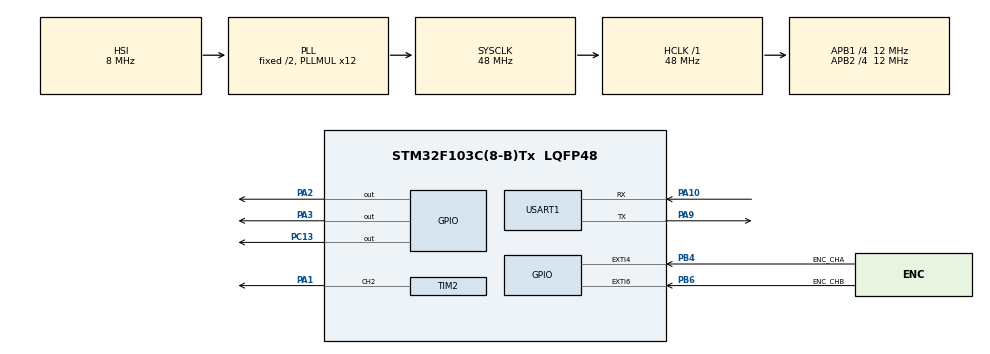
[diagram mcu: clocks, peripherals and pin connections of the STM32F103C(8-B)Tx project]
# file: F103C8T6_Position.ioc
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Mcu.Family=STM32F1
Mcu.Name=STM32F103C(8-B)Tx
Mcu.Package=LQFP48
NVIC.EXTI4_IRQn=true\:0\:0\:false\:false\:true\:true\:true\:true
NVIC.EXTI9_5_IRQn=true\:0\:0\:false\:false\:true\:true\:true\:true
NVIC.PriorityGroup=NVIC_PRIORITYGROUP_4
NVIC.TIM3_IRQn=true\:0\:0\:false\:false\:true\:true\:true\:true
NVIC.TIM4_IRQn=true\:0\:0\:false\:false\:true\:true\:true\:true
NVIC.USART1_IRQn=true\:0\:0\:false\:false\:true\:true\:true\:true
PA1.Signal=S_TIM2_CH2
PA10.Mode=Asynchronous
PA10.Signal=USART1_RX
PA13.Mode=Serial_Wire
PA13.Signal=SYS_JTMS-SWDIO
PA14.Mode=Serial_Wire
PA14.Signal=SYS_JTCK-SWCLK
PA2.Signal=GPIO_Output
PA3.Signal=GPIO_Output
PA9.Mode=Asynchronous
PA9.Signal=USART1_TX
PB4.GPIO_Label=ENC_CHA
PB4.GPIO_ModeDefaultEXTI=GPIO_MODE_IT_RISING_FALLING
PB4.GPIO_PuPd=GPIO_PULLUP
PB4.Signal=GPXTI4
PB6.GPIO_Label=ENC_CHB
PB6.GPIO_ModeDefaultEXTI=GPIO_MODE_IT_RISING_FALLING
PB6.GPIO_PuPd=GPIO_PULLUP
PB6.Signal=GPXTI6
PC13-TAMPER-RTC.Signal=GPIO_Output
ProjectManager.HeapSize=0x200
ProjectManager.StackSize=0x400
ProjectManager.TargetToolchain=MDK-ARM V5.32
RCC.AHBFreq_Value=48000000
RCC.APB1CLKDivider=RCC_HCLK_DIV4
RCC.APB1Freq_Value=12000000
RCC.APB1TimFreq_Value=24000000
RCC.APB2CLKDivider=RCC_HCLK_DIV4
RCC.APB2Freq_Value=12000000
RCC.APB2TimFreq_Value=24000000
RCC.HCLKFreq_Value=48000000
RCC.PLLMUL=RCC_PLL_MUL12
RCC.SYSCLKFreq_VALUE=48000000
RCC.SYSCLKSource=RCC_SYSCLKSOURCE_PLLCLK
RCC.USBFreq_Value=48000000
SH.S_TIM2_CH2.0=TIM2_CH2,PWM Generation2 CH2
TIM2.Channel-PWM\ Generation2\ CH2=TIM_CHANNEL_2
TIM2.Period=100
TIM2.Prescaler=11
TIM3.Period=4
TIM3.Prescaler=23999
TIM4.Period=9
TIM4.Prescaler=23999
USART1.VirtualMode=VM_ASYNC
VP_TIM3_VS_ClockSourceINT.Mode=Internal
VP_TIM4_VS_ClockSourceINT.Mode=Internal
board=custom

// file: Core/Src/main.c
/* USER CODE BEGIN Header */
/**
  ******************************************************************************
  * @file           : main.c
  * @brief          : Main program body
  ******************************************************************************
  * @attention
  *
  * Copyright (c) 2023 STMicroelectronics.
  * All rights reserved.
  *
  * This software is licensed under terms that can be found in the LICENSE file
  * in the root directory of this software component.
  * If no LICENSE file comes with this software, it is provided AS-IS.
  *
  ******************************************************************************
  */
/* USER CODE END Header */
#include "main.h"

/* USER CODE BEGIN Includes */
#include "string.h"
#include "stdio.h"
#include "stdlib.h"
#include "stdbool.h"
/* USER CODE END Includes */

/* USER CODE BEGIN PD */
#define UPDATE_PERIOD			0.005		/* Chu ki cap nhat: 5ms = ngat timer 4 */
#define PULSES_IN_ROUND		11			/* So xung tren 1 vong cua dong co */
/* USER CODE END PD */

TIM_HandleTypeDef htim2;
TIM_HandleTypeDef htim3;
TIM_HandleTypeDef htim4;

UART_HandleTypeDef huart1;

/* USER CODE BEGIN PV */
/* Thong so ham PIController : tuy vao loai dong co ma tinh lai cac thong so Kp, Ki, Kb */
//float 		Kp 							= 0.087039474;			/* Ti le */
//float 		Ki 							= 2.192982456;			/* Tich phan */
//float 		Kd 							= 0.0;							/* Vi phan */
//float			Kb 							= 25.19526329;			/* Dung cho Anti-windup */

//int32_t 	UHiLim 					= 100;								/* Gioi han tren pwm */
//int32_t 	ULoLim 					= 0;									/* Gioi han duoi pwm */

/* Thong so dieu khien vi tri 3 cap do : tuy vao loai dong co ma tinh lai cac thong so Kp1 Kp2 Kv2 Kp4 Kvg */
	// For Low Speed
float Kp1 = 28.95;		// Kp2 = wn * cp2 = 120.637 * 0.24
	// For Middle Speed
float Kp2 = 28.95;		// Kp2 = wn * cp2 = 120.637 * 0.24
float Kv2 = 115.81;		// Kv2 = wn * cv2 = 120.637 * 0.96
	// For High Speed
float Kp4 = 28.95;		// Kp4 = wn * cp = 120.637 * 0.24
float Kvg = 0.76;		// Kvg = cv * wn * Jt

///* Thong so ham PDController : tuy vao loai dong co ma tinh lai cac thong so Kp, Kd, alpha */
float 		Kp 							= 0.317763158;			/* Ti le */
float 		Ki 							= 0.0;						/* Tich phan */
float 		Kd 							= 0.009208776;							/* Vi phan */
float			alpha 					= 0.8;			/* Dung cho Low pass filter */
uint8_t 	dir							= 0;				/* Chieu quay */

int32_t 	UHiLim 					= 100;								/* Gioi han tren pwm */
int32_t 	ULoLim 					= 60;									/* Gioi han duoi pwm */

/* Thong so ham HAL_UART_RxCpltCallback */
bool 			run             = false;				/* Dong co stop */
uint16_t	DesiredSpeed  	= 0;						/* Van toc mong muon (RPM) */
float			DesiredVel  		= 0;						/* Van toc mong muon (rad/s) */
int16_t		DesiredRound  	= 0;							/* Vi tri mong muon (Round) */
float 		DesiredPos 			= 0;	 					/* Vi tri mong muon (rad) */
uint8_t 	Rx_indx;
char 			Rx_Buffer[20];
char 			Rx_data[2];

/* Thong so ham HAL_GPIO_EXTI_Callback */
uint8_t 	PreviousState 	= 0;			/* Trang thai encoder chu ki truoc */
int16_t 	CountValue  		= 0;			/* Bien dem encoder => tinh vi tri */
int32_t 	PosCnt  				= 0;			/* Bien dem so vong quay => tinh vi tri */
uint16_t 	VelCnt      		= 0;			/* Bien dem encoder => tinh van toc */
uint16_t 	VelTemp      		= 0;			/* Bien dem encoder => tinh van toc */

/* Thong so ham HAL_TIM_PeriodElapsedCallback */
float 		CurrPos 	 			= 0;	 		/* Vi tri hien tai (rad) */
float 		CurrRound 	 		= 0;	 		/* Vi tri hien tai (round) */
float 		CurrVel 				= 0;	 		/* Van toc hien tai (rad/s) */
float 		CurrSpeed 			= 0;	 		/* Van toc hien tai (RPM) */
uint8_t 	tick						= 0;			/* Dung de dem cho timer 5 */
uint8_t 	PWMSet 					= 0;	 		/* PWM dieu khien dong co */
/* USER CODE END PV */

void SystemClock_Config(void);
static void MX_GPIO_Init(void);
static void MX_TIM2_Init(void);
static void MX_TIM3_Init(void);
static void MX_TIM4_Init(void);
static void MX_USART1_UART_Init(void);

/* USER CODE BEGIN 0 */

struct __FILE
{
  int handle;
  /* Whatever you require here. If the only file you are using is */
  /* standard output using printf() for debugging, no file handling */
  /* is required. */
};

FILE __stdout;
int fputc(int ch, FILE *f)
{
	char tempch = ch;

	HAL_UART_Transmit(&huart1, (uint8_t *)&	tempch,1,100);
	return ch;
}

/* ================================================= Ket thuc ham printf  =================================================== */

/* ====================================== Dieu khien vi tri 3 cap van toc ====================================== */
int32_t SetVelLow(float CurrentPos, float Pos)
{
	/* Set boundary */
	UHiLim = 10, ULoLim=0;
	float posErr = 0;
	float uout;
	/* Calculate error */
	posErr = Pos - CurrentPos;
	if(posErr < 0)
	{
		posErr = -posErr;
		dir = 2;
	}
	else if(posErr > 0)
	{
		dir = 1;
	}
	else
	{
		dir = 0;
	}
	uout = posErr * Kp1;
	/* Rectify output */
	if (uout>UHiLim) uout=UHiLim;
	else if(uout<ULoLim) uout=ULoLim;
	return uout;
}
	/*==== Set Middle Velocity ====*/
int32_t SetVelMid(float CurrentPos, float Pos, float CurrentVel)
{
	/* Set boundary */
	UHiLim = 20, ULoLim=0;
	float posErr = 0;
	float uout;
	/* Calculate error */
	posErr = Pos - CurrentPos;
	if(posErr < 0)
	{
		posErr = -posErr;
		dir = 2;
	}
	else if(posErr > 0)
	{
		dir = 1;
	}
	else
	{
		dir = 0;
	}
	uout = (posErr * Kp2 - CurrentVel) * Kv2;
	/* Rectify output */
	if (uout>UHiLim) uout=UHiLim;
	else if(uout<ULoLim) uout=ULoLim;
	return uout;
}
	/*==== Set High Velocity ====*/
int32_t SetVelHigh(float CurrentPos, float Pos, float CurrentVel)
{
	/* Set boundary */
	UHiLim = 99, ULoLim=0;
	float posErr = 0;
	float uout;
	/* Calculate error */
	posErr = Pos - CurrentPos;
	if(posErr < 0)
	{
		posErr = -posErr;
		dir = 2;
	}
	else if(posErr > 0)
	{
		dir = 1;
	}
	else
	{
		dir = 0;
	}
	uout = (posErr * Kp4 - CurrentVel) * Kvg;
	/* Rectify output */
	if (uout>UHiLim) uout=UHiLim;
	else if(uout<ULoLim) uout=ULoLim;
	return uout;
}
/* ====================================== Ket thuc ham dieu khien vi tri 3 cap van toc ====================================== */

/* ================================================= Ham dieu khien van toc su dung bo PI +(Anti-windup)  =================================================== */
int32_t PIController(float desired_val, float real_val, float gain, float Ki, float Kb, int uHiLim, int uLoLim)
{
		/* Controller values */
		static float err_reset;
		static float uI_p;
		float err, uP, uI;
		int uOut;

		/* Algorithm */
		err = (desired_val - real_val);
			/* Proportional */
		uP = gain * err;
			/* Integral (with Anti-windup) */
		uI = uI_p + (Ki * UPDATE_PERIOD *err) + Kb * UPDATE_PERIOD * err_reset;
			/* Integral part */
		uI_p = uI;
			/* Output control */
		uOut = (int)(uP + uI);
			/* Output saturation */
		if(uOut > uHiLim)
		{
			err_reset = uHiLim - uOut;
			uOut = uHiLim;
		}
		else if(uOut < uLoLim)
		{
			err_reset = uLoLim - uOut;
			uOut = uLoLim;
		}
		return uOut;
}
/* ================================================= Ket thuc ham dieu khien van toc su dung bo PI +(Anti-windup)  =================================================== */

/* ================================================= Ham dieu khien vi tri su dung bo PD + (Low pas filter) =================================================== */
int32_t  PDController(float desired_val, float real_val, float gain, float Kd, float alpha, int uHiLim, int uLoLim) {
	static float err_p = 0;
	static float uD_f_p = 0;
	float err;
	float uP, uD, uD_f;
	int uOut;

	err = desired_val - real_val;

	if(err < 0)
	{
		err = -err;
		dir = 2;
	}
	else if(err > 0)
	{
		dir = 1;
	}
	else
	{
		dir = 0;
	}

 	uP = gain*err; // khau P

	uD  = Kd*(err-err_p)/UPDATE_PERIOD; // khau D

	uD_f = alpha*uD + (1-alpha)*uD_f_p; // low pass filter cho khau D

	err_p = err;
	uD_f_p = uD_f;

	uOut = (int) uP + uD_f; // PWM out

	if (uOut>UHiLim) {
		uOut=UHiLim;
	}
	else if(uOut<ULoLim) {
		uOut=ULoLim;
	}

  return uOut;
}
/* ================================================= Ket thuc ham dieu khien vi tri su dung bo PD +(Low pas filter) =================================================== */

/* ====================================== Ham dieu khien dong co => xet chieu quay va pwm ====================================== */
void motorRot(uint8_t runMode, int32_t pwmSet)
{
	if(runMode == 1)			/* quay chieu CW */
	{
		HAL_GPIO_WritePin(GPIOA, GPIO_PIN_2, GPIO_PIN_RESET);
		HAL_GPIO_WritePin(GPIOA, GPIO_PIN_3, GPIO_PIN_SET);
		__HAL_TIM_SetCompare(&htim2, TIM_CHANNEL_2, pwmSet);
	}
	else if(runMode == 2)	/* quay chieu CCW */
	{
		HAL_GPIO_WritePin(GPIOA, GPIO_PIN_2, GPIO_PIN_SET);
		HAL_GPIO_WritePin(GPIOA, GPIO_PIN_3, GPIO_PIN_RESET);
		__HAL_TIM_SetCompare(&htim2, TIM_CHANNEL_2, pwmSet);
	}
	else									/* stop */
	{
		HAL_GPIO_WritePin(GPIOA, GPIO_PIN_2, GPIO_PIN_SET);
		HAL_GPIO_WritePin(GPIOA, GPIO_PIN_3, GPIO_PIN_RESET);
		__HAL_TIM_SetCompare(&htim2, TIM_CHANNEL_2, 0);
	}
}
/* =============================================== Ket thuc ham dieu khien dong co ============================================= */
/* USER CODE END 0 */

int main(void)
{

  /* MCU Configuration--------------------------------------------------------*/

  /* Reset of all peripherals, Initializes the Flash interface and the Systick. */
  HAL_Init();

  /* Configure the system clock */
  SystemClock_Config();

  /* Initialize all configured peripherals */
  MX_GPIO_Init();
  MX_TIM2_Init();
  MX_TIM3_Init();
  MX_TIM4_Init();
  MX_USART1_UART_Init();
  /* USER CODE BEGIN 2 */
	HAL_TIM_PWM_Start(&htim2, TIM_CHANNEL_2);						/* Enable PWM */
	HAL_TIM_Base_Start_IT(&htim3);											/* Enable interrupt Timer 4 */
	HAL_TIM_Base_Start_IT(&htim4);											/* Enable interrupt Timer 5 */
	HAL_UART_Receive_IT(&huart1,(uint8_t*) Rx_data, 1);	/* Enable receive interrupt UART */
	HAL_GPIO_WritePin(GPIOC,GPIO_PIN_13,GPIO_PIN_RESET);
  /* USER CODE END 2 */

  /* Infinite loop */
  while (1)
  {

  }
}

void SystemClock_Config(void)
{
  RCC_OscInitTypeDef RCC_OscInitStruct = {0};
  RCC_ClkInitTypeDef RCC_ClkInitStruct = {0};

  /** Initializes the RCC Oscillators according to the specified parameters
  * in the RCC_OscInitTypeDef structure.
  */
  RCC_OscInitStruct.OscillatorType = RCC_OSCILLATORTYPE_HSI;
  RCC_OscInitStruct.HSIState = RCC_HSI_ON;
  RCC_OscInitStruct.HSICalibrationValue = RCC_HSICALIBRATION_DEFAULT;
  RCC_OscInitStruct.PLL.PLLState = RCC_PLL_ON;
  RCC_OscInitStruct.PLL.PLLSource = RCC_PLLSOURCE_HSI_DIV2;
  RCC_OscInitStruct.PLL.PLLMUL = RCC_PLL_MUL12;
  if (HAL_RCC_OscConfig(&RCC_OscInitStruct) != HAL_OK)
  {
    Error_Handler();
  }

  /** Initializes the CPU, AHB and APB buses clocks
  */
  RCC_ClkInitStruct.ClockType = RCC_CLOCKTYPE_HCLK|RCC_CLOCKTYPE_SYSCLK
                              |RCC_CLOCKTYPE_PCLK1|RCC_CLOCKTYPE_PCLK2;
  RCC_ClkInitStruct.SYSCLKSource = RCC_SYSCLKSOURCE_PLLCLK;
  RCC_ClkInitStruct.AHBCLKDivider = RCC_SYSCLK_DIV1;
  RCC_ClkInitStruct.APB1CLKDivider = RCC_HCLK_DIV4;
  RCC_ClkInitStruct.APB2CLKDivider = RCC_HCLK_DIV4;

  if (HAL_RCC_ClockConfig(&RCC_ClkInitStruct, FLASH_LATENCY_1) != HAL_OK)
  {
    Error_Handler();
  }
}

static void MX_TIM2_Init(void)
{

  TIM_MasterConfigTypeDef sMasterConfig = {0};
  TIM_OC_InitTypeDef sConfigOC = {0};

  htim2.Instance = TIM2;
  htim2.Init.Prescaler = 11;
  htim2.Init.CounterMode = TIM_COUNTERMODE_UP;
  htim2.Init.Period = 100;
  htim2.Init.ClockDivision = TIM_CLOCKDIVISION_DIV1;
  htim2.Init.AutoReloadPreload = TIM_AUTORELOAD_PRELOAD_DISABLE;
  if (HAL_TIM_PWM_Init(&htim2) != HAL_OK)
  {
    Error_Handler();
  }
  sMasterConfig.MasterOutputTrigger = TIM_TRGO_RESET;
  sMasterConfig.MasterSlaveMode = TIM_MASTERSLAVEMODE_DISABLE;
  if (HAL_TIMEx_MasterConfigSynchronization(&htim2, &sMasterConfig) != HAL_OK)
  {
    Error_Handler();
  }
  sConfigOC.OCMode = TIM_OCMODE_PWM1;
  sConfigOC.Pulse = 0;
  sConfigOC.OCPolarity = TIM_OCPOLARITY_HIGH;
  sConfigOC.OCFastMode = TIM_OCFAST_DISABLE;
  if (HAL_TIM_PWM_ConfigChannel(&htim2, &sConfigOC, TIM_CHANNEL_2) != HAL_OK)
  {
    Error_Handler();
  }
  HAL_TIM_MspPostInit(&htim2);

}

static void MX_TIM3_Init(void)
{

  TIM_ClockConfigTypeDef sClockSourceConfig = {0};
  TIM_MasterConfigTypeDef sMasterConfig = {0};

  htim3.Instance = TIM3;
  htim3.Init.Prescaler = 23999;
  htim3.Init.CounterMode = TIM_COUNTERMODE_UP;
  htim3.Init.Period = 4;
  htim3.Init.ClockDivision = TIM_CLOCKDIVISION_DIV1;
  htim3.Init.AutoReloadPreload = TIM_AUTORELOAD_PRELOAD_DISABLE;
  if (HAL_TIM_Base_Init(&htim3) != HAL_OK)
  {
    Error_Handler();
  }
  sClockSourceConfig.ClockSource = TIM_CLOCKSOURCE_INTERNAL;
  if (HAL_TIM_ConfigClockSource(&htim3, &sClockSourceConfig) != HAL_OK)
  {
    Error_Handler();
  }
  sMasterConfig.MasterOutputTrigger = TIM_TRGO_RESET;
  sMasterConfig.MasterSlaveMode = TIM_MASTERSLAVEMODE_DISABLE;
  if (HAL_TIMEx_MasterConfigSynchronization(&htim3, &sMasterConfig) != HAL_OK)
  {
    Error_Handler();
  }

}

static void MX_TIM4_Init(void)
{

  TIM_ClockConfigTypeDef sClockSourceConfig = {0};
  TIM_MasterConfigTypeDef sMasterConfig = {0};

  htim4.Instance = TIM4;
  htim4.Init.Prescaler = 23999;
  htim4.Init.CounterMode = TIM_COUNTERMODE_UP;
  htim4.Init.Period = 9;
  htim4.Init.ClockDivision = TIM_CLOCKDIVISION_DIV1;
  htim4.Init.AutoReloadPreload = TIM_AUTORELOAD_PRELOAD_DISABLE;
  if (HAL_TIM_Base_Init(&htim4) != HAL_OK)
  {
    Error_Handler();
  }
  sClockSourceConfig.ClockSource = TIM_CLOCKSOURCE_INTERNAL;
  if (HAL_TIM_ConfigClockSource(&htim4, &sClockSourceConfig) != HAL_OK)
  {
    Error_Handler();
  }
  sMasterConfig.MasterOutputTrigger = TIM_TRGO_RESET;
  sMasterConfig.MasterSlaveMode = TIM_MASTERSLAVEMODE_DISABLE;
  if (HAL_TIMEx_MasterConfigSynchronization(&htim4, &sMasterConfig) != HAL_OK)
  {
    Error_Handler();
  }

}

static void MX_USART1_UART_Init(void)
{

  huart1.Instance = USART1;
  huart1.Init.BaudRate = 115200;
  huart1.Init.WordLength = UART_WORDLENGTH_8B;
  huart1.Init.StopBits = UART_STOPBITS_1;
  huart1.Init.Parity = UART_PARITY_NONE;
  huart1.Init.Mode = UART_MODE_TX_RX;
  huart1.Init.HwFlowCtl = UART_HWCONTROL_NONE;
  huart1.Init.OverSampling = UART_OVERSAMPLING_16;
  if (HAL_UART_Init(&huart1) != HAL_OK)
  {
    Error_Handler();
  }

}

static void MX_GPIO_Init(void)
{
  GPIO_InitTypeDef GPIO_InitStruct = {0};

  /* GPIO Ports Clock Enable */
  __HAL_RCC_GPIOC_CLK_ENABLE();
  __HAL_RCC_GPIOD_CLK_ENABLE();
  __HAL_RCC_GPIOA_CLK_ENABLE();
  __HAL_RCC_GPIOB_CLK_ENABLE();

  /*Configure GPIO pin Output Level */
  HAL_GPIO_WritePin(GPIOC, GPIO_PIN_13, GPIO_PIN_RESET);

  /*Configure GPIO pin Output Level */
  HAL_GPIO_WritePin(GPIOA, GPIO_PIN_2|GPIO_PIN_3, GPIO_PIN_RESET);

  /*Configure GPIO pin : PC13 */
  GPIO_InitStruct.Pin = GPIO_PIN_13;
  GPIO_InitStruct.Mode = GPIO_MODE_OUTPUT_PP;
  GPIO_InitStruct.Pull = GPIO_NOPULL;
  GPIO_InitStruct.Speed = GPIO_SPEED_FREQ_LOW;
  HAL_GPIO_Init(GPIOC, &GPIO_InitStruct);

  /*Configure GPIO pins : PC14 PC15 */
  GPIO_InitStruct.Pin = GPIO_PIN_14|GPIO_PIN_15;
  GPIO_InitStruct.Mode = GPIO_MODE_ANALOG;
  HAL_GPIO_Init(GPIOC, &GPIO_InitStruct);

  /*Configure GPIO pins : PD0 PD1 */
  GPIO_InitStruct.Pin = GPIO_PIN_0|GPIO_PIN_1;
  GPIO_InitStruct.Mode = GPIO_MODE_ANALOG;
  HAL_GPIO_Init(GPIOD, &GPIO_InitStruct);

  /*Configure GPIO pins : PA0 PA4 PA5 PA6
                           PA7 PA8 PA11 PA12
                           PA15 */
  GPIO_InitStruct.Pin = GPIO_PIN_0|GPIO_PIN_4|GPIO_PIN_5|GPIO_PIN_6
                          |GPIO_PIN_7|GPIO_PIN_8|GPIO_PIN_11|GPIO_PIN_12
                          |GPIO_PIN_15;
  GPIO_InitStruct.Mode = GPIO_MODE_ANALOG;
  HAL_GPIO_Init(GPIOA, &GPIO_InitStruct);

  /*Configure GPIO pins : PA2 PA3 */
  GPIO_InitStruct.Pin = GPIO_PIN_2|GPIO_PIN_3;
  GPIO_InitStruct.Mode = GPIO_MODE_OUTPUT_PP;
  GPIO_InitStruct.Pull = GPIO_NOPULL;
  GPIO_InitStruct.Speed = GPIO_SPEED_FREQ_LOW;
  HAL_GPIO_Init(GPIOA, &GPIO_InitStruct);

  /*Configure GPIO pins : PB0 PB1 PB2 PB10
                           PB11 PB12 PB13 PB14
                           PB15 PB3 PB5 PB7
                           PB8 PB9 */
  GPIO_InitStruct.Pin = GPIO_PIN_0|GPIO_PIN_1|GPIO_PIN_2|GPIO_PIN_10
                          |GPIO_PIN_11|GPIO_PIN_12|GPIO_PIN_13|GPIO_PIN_14
                          |GPIO_PIN_15|GPIO_PIN_3|GPIO_PIN_5|GPIO_PIN_7
                          |GPIO_PIN_8|GPIO_PIN_9;
  GPIO_InitStruct.Mode = GPIO_MODE_ANALOG;
  HAL_GPIO_Init(GPIOB, &GPIO_InitStruct);

  /*Configure GPIO pins : ENC_CHA_Pin ENC_CHB_Pin */
  GPIO_InitStruct.Pin = ENC_CHA_Pin|ENC_CHB_Pin;
  GPIO_InitStruct.Mode = GPIO_MODE_IT_RISING_FALLING;
  GPIO_InitStruct.Pull = GPIO_PULLUP;
  HAL_GPIO_Init(GPIOB, &GPIO_InitStruct);

  /*Configure peripheral I/O remapping */
  __HAL_AFIO_REMAP_PD01_ENABLE();

  /* EXTI interrupt init*/
  HAL_NVIC_SetPriority(EXTI4_IRQn, 0, 0);
  HAL_NVIC_EnableIRQ(EXTI4_IRQn);

  HAL_NVIC_SetPriority(EXTI9_5_IRQn, 0, 0);
  HAL_NVIC_EnableIRQ(EXTI9_5_IRQn);

}

/* USER CODE BEGIN 4 */
/* ================================================= Ham ngat UART => nhan du lieu qua serial =================================================== */
void HAL_UART_RxCpltCallback(UART_HandleTypeDef *huart)
{
	uint8_t i;
	if(huart->Instance == USART1) //uart1
	{
			if(Rx_indx==0) {for (i=0;i<20;i++) Rx_Buffer[i] = 0;}

			switch(Rx_data[0]) {
					/* dung dong co */
					case 'e':
							run = false;
							break;
					/* dong co chay */
					case 'r':
							run = true;
							break;
					case 's':
							DesiredRound = atoi(Rx_Buffer);								/* Vi tri mong muon (round) */
							DesiredPos = DesiredRound*2*3.1415;						/* Vi tri mong muon (rad) */
							memset(Rx_Buffer, 0, sizeof(Rx_Buffer));
							Rx_indx = 0;
							break;
					case 'v':
							DesiredSpeed = atoi(Rx_Buffer);								/* Van toc mong muon (RPM) */
							DesiredVel = DesiredSpeed*2*3.1415/60;				/* Van toc mong muon (rad/s) */
							memset(Rx_Buffer, 0, sizeof(Rx_Buffer));
							Rx_indx = 0;
							break;
					case '0':
					case '1':
					case '2':
					case '3':
					case '4':
					case '5':
					case '6':
					case '7':
					case '8':
					case '9':
					case '.':
					case '-':																				/* So am */
							Rx_Buffer[Rx_indx++] |= Rx_data[0];
							break;
					default:
							break;
			}
			HAL_UART_Receive_IT(&huart1,(uint8_t*)Rx_data,1);
	}
}
/* ================================================= Ket thuc ham ngat UART =================================================== */

/* ================================================= Ham ngat external => tinh encoder =================================================== */
void HAL_GPIO_EXTI_Callback(uint16_t GPIO_Pin)
{
	// Encoder Channel A
	if(GPIO_Pin == ENC_CHA_Pin) /* ENC_CHA label trong CubeMX */
	{
		unsigned char StateA;
		StateA = (StateA<<1) | HAL_GPIO_ReadPin(GPIOB, GPIO_PIN_4);
		StateA = (StateA<<1) | HAL_GPIO_ReadPin(GPIOB, GPIO_PIN_6);
		StateA = StateA&0x03;
		switch (StateA) {
			case 0:
				if(PreviousState==1) CountValue++;
				else CountValue--;
			break;
			case 1:
				if(PreviousState==3) CountValue++;
				else CountValue--;
			break;
			case 2:
				if(PreviousState==0) CountValue++;
				else CountValue--;
			break;
			case 3:
				if(PreviousState==2) CountValue++;
				else CountValue--;
			break;
			}
		PreviousState = StateA;
		VelCnt++;
		if (CountValue>=4*PULSES_IN_ROUND) {
			CountValue = 0;
			PosCnt++;
		}
		else if	(CountValue<=-4*PULSES_IN_ROUND) {
			CountValue = 0;
			PosCnt--;
		}
	}
	// Encoder Channel B
	if(GPIO_Pin == ENC_CHB_Pin) /* ENC_CHB label trong CubeMX */
	{
		unsigned char StateB;
		StateB = (StateB<<1) | HAL_GPIO_ReadPin(GPIOB, GPIO_PIN_4);
		StateB = (StateB<<1) | HAL_GPIO_ReadPin(GPIOB, GPIO_PIN_6);
		StateB = StateB&0x03;
		switch (StateB) {
			case 0:
				if(PreviousState==1) CountValue++;
				else CountValue--;
			break;
			case 1:
				if(PreviousState==3) CountValue++;
				else CountValue--;
			break;
			case 2:
				if(PreviousState==0) CountValue++;
				else CountValue--;
			break;
			case 3:
				if(PreviousState==2) CountValue++;
				else CountValue--;
			break;
			}
		PreviousState = StateB;
		VelCnt++;
		if (CountValue>=4*PULSES_IN_ROUND) {
			CountValue = 0;
			PosCnt++;
		}
		else if	(CountValue<=-4*PULSES_IN_ROUND) {
			CountValue = 0;
			PosCnt--;
		}
	}
}
/* ================================================= Ket thuc ham ngat external =================================================== */

/* ================================================= Ham ngat timer =================================================== */
void HAL_TIM_PeriodElapsedCallback(TIM_HandleTypeDef *htim) {

	if(htim->Instance==TIM3)																											/* Ngat timer 3: 5ms => tinh PID */
	{
		CurrPos 	= PosCnt*2*3.1415 + CountValue*2*3.1415/(4*PULSES_IN_ROUND);										/* rad */
		CurrRound = PosCnt + CountValue/(4*PULSES_IN_ROUND);																			/* round */

		VelTemp		 	= VelCnt;																												/* Gan bien dem van toc vao bien tam */
		VelCnt 			= 0;																														/* Reset bien dem van toc */
		CurrSpeed 	= 60*VelTemp/(4*PULSES_IN_ROUND*0.005);																			/* RPM */
		CurrVel 		= 2*3.1415*VelTemp/(4*PULSES_IN_ROUND*0.005);																/* rad/s */

		//PWMSet = PIController(DesiredSpeed, CurrSpeed, Kp, Ki, Kb, UHiLim, ULoLim);	/* Tinh pwm bang bo dieu khien PI de dieu khien van toc */
		//motorRot(1,PWMSet);																															/* Xet chieu va pwm cho dong co */

		PWMSet = PDController(DesiredPos, CurrPos, Kp, Kd, alpha, UHiLim, ULoLim);	/* Tinh pwm bang bo dieu khien PD de dieu khien vi tri */
		motorRot(dir,PWMSet);																															/* Xet chieu va pwm cho dong co */

		return;
	}

	if (htim->Instance==TIM4)																											/* Ngat timer 4: 10x5ms => gui gia tri bang ham printf */
	{
		tick++;
		if ((run==true)&&(tick==5)){
			tick = 0;

			printf("V%d\r \n",(int) CurrSpeed);

			printf("P%f\r \n", CurrRound);
		}
	}
}
/* ================================================= Ket thuc ham ngat timer =================================================== */
/* USER CODE END 4 */

void Error_Handler(void)
{
  __disable_irq();
  while (1)
  {
  }
}
